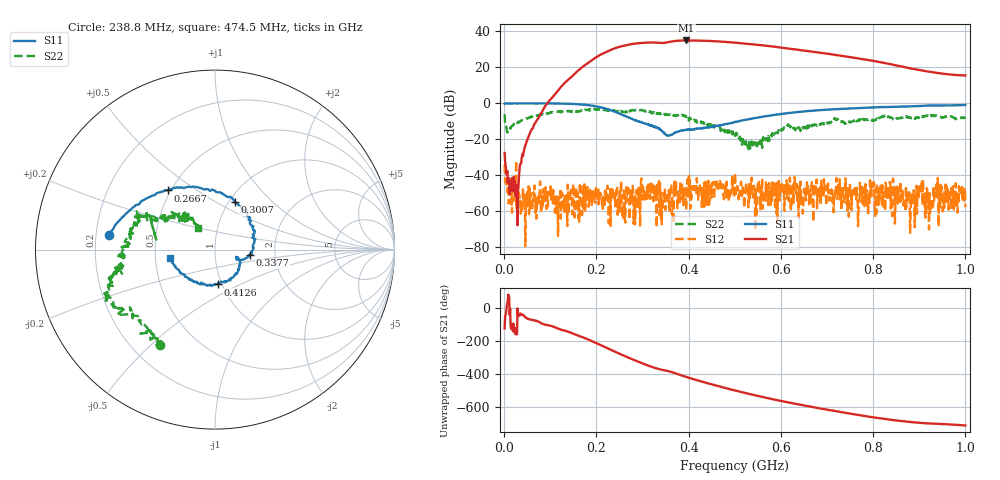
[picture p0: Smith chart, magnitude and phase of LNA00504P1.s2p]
! Created with skrf 1.9.0 (http://scikit-rf.org).
# Hz S RI R 50.0
!freq ReS11 ImS11 ReS21 ImS21 ReS12 ImS12 ReS22 ImS22
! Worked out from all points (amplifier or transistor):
!   1001 points, 1 MHz to 1 GHz, reference 50 ohm
!   highest |S21| = 34.9 dB at 394.6 MHz (marker M1)
!   |S21| within 3 dB of that: 257.7 MHz to 569.2 MHz (311.5 MHz wide, 75.4 % of centre)
!   unconditionally stable (mu >= 1): 26.58 MHz to 67.13 MHz; 253.9 MHz to 296.5 MHz; 297.8 MHz to end of sweep (the widest 3 of 35)
!   at 166.8 MHz: K = 0.86, MSG = 35.1 dB, |S12| = -50.6 dB
!   at 500.5 MHz: K = 1.03, MAG = 35.0 dB, |S12| = -38.5 dB
!   at 1 GHz: K = 9.94, MAG = 23.6 dB, |S12| = -57.7 dB
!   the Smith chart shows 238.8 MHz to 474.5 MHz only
!   S11 on the Smith chart (normalised r, x): 238.8 MHz: 0.25, +0.07; 266.7 MHz: 0.48, +0.39; 300.7 MHz: 1.06, +0.61; 337.7 MHz: 1.48, -0.10; 412.6 MHz: 0.96, -0.39; 474.5 MHz: 0.60, -0.06
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1000000  0.973 -0.00707  -0.0251 -0.0339  -0.0189 0.00552  0.3876 0.319
1.09891e8  0.5171 -0.8497  -0.8444 -1.556  -0.000796 -0.000499  0.4397 -0.3755
1.67833e8  -0.2203 -0.9034  -9.8 -0.639  -6.62e-05 -0.00166  0.0437 -0.6445
2.08792e8  -0.6603 -0.4168  -15.78 15.91  -0.00248 -0.00214  -0.2057 -0.6519
2.38762e8  -0.592 0.0837  -3.478 33.25  -0.00367 0.00127  -0.3043 -0.5302
2.66734e8  -0.2622 0.3297  20.24 36.83  -0.00255 -0.00363  -0.4641 -0.3425
3.007e8  0.1092 0.2636  44.04 18.52  -0.0046 -0.00204  -0.5903 -0.2169
3.17683e8  0.2139 0.1293  48.6 4.404  0.000173 0.006  -0.5499 -0.1146
3.34666e8  0.2041 -0.0122  47.39 -8.435  -0.00428 0.000757  -0.5343 -0.0268
3.37663e8  0.195 -0.0311  46.67 -10.04  -0.00605 0.00319  -0.5041 -0.0313
3.68632e8  0.1391 -0.0613  44.79 -29.59  -0.00384 0.00541  -0.434 0.1327
3.94606e8  0.0914 -0.1578  29.95 -47.15  0.00102 0.000421  -0.3915 0.1743
4.12588e8  0.0158 -0.1941  16.42 -53.08  -0.00258 0.00426  -0.2859 0.2032
4.41559e8  -0.1275 -0.1698  -5.886 -54.01  0.00112 -0.00103  -0.1756 0.201
4.74526e8  -0.2505 -0.0455  -26.57 -44.06  0.00215 -0.002  -0.0975 0.1211
5.005e8  -0.2917 0.099  -37.05 -31.59  0.011 0.00436  -0.0736 0.1009
5.4046e8  -0.2374 0.3057  -42.05 -10.45  -0.0024 0.000426  -0.0558 -0.0215
5.88412e8  -0.0479 0.4824  -35.66 10.15  0.00265 -0.00331  -0.1239 -0.0865
6.67333e8  0.3269 0.5332  -14.05 23.3  0.0037 -0.00543  -0.2212 -0.0684
7.53247e8  0.6271 0.3646  3.324 18.62  0.000684 -0.00084  -0.3071 0.0101
8.34166e8  0.7831 0.1383  8.692 8.978  0.000836 -0.00226  -0.4177 0.0763
1e9  0.8128 -0.3926  5.874 1.038  -0.000887 0.000964  -0.157 0.3463
